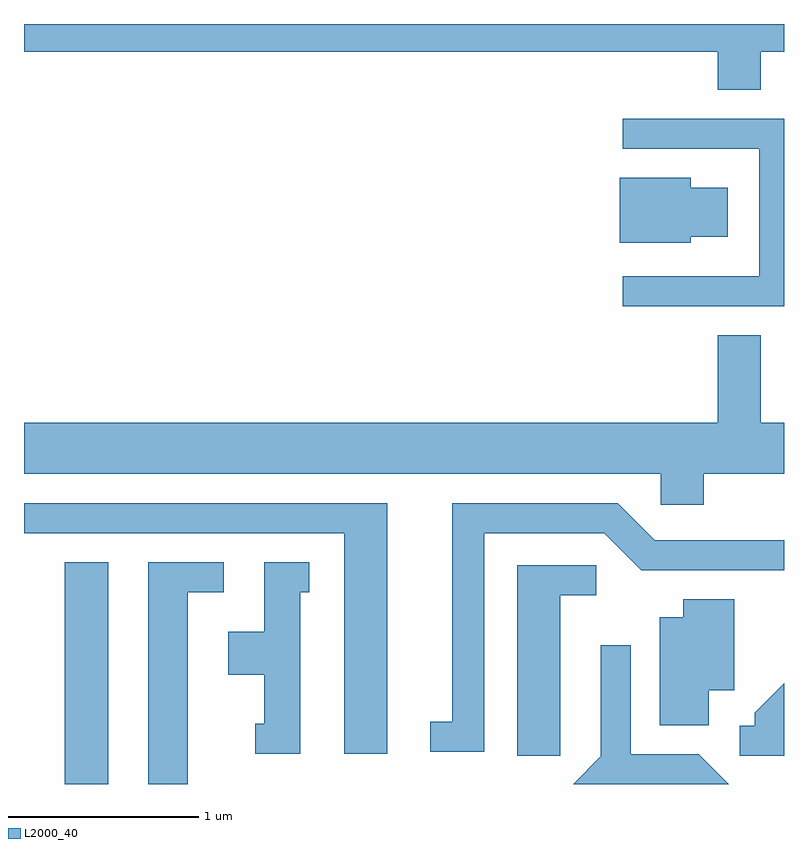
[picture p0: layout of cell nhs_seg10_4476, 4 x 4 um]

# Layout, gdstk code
import gdstk
lib = gdstk.Library(unit=1e-6, precision=1e-09)
def R(c, l, rs):  # rectangles x0, y0, x1, y1
    for r in rs: c.add(gdstk.rectangle(r[:2], r[2:], *l))
def P(c, l, *ps):  # polygons
    for p in ps: c.add(gdstk.Polygon(p, *l))
L2000_40 = (2000, 40)

nhs_seg10_4476 = lib.new_cell('nhs_seg10_4476')
R(nhs_seg10_4476, L2000_40, [(317.826,2094.522,318.054,2095.689)])
P(nhs_seg10_4476, L2000_40, [(321.489,2098.376),(321.611,2098.376),(321.611,2098.522),(317.611,2098.522),(317.611,2098.376),(321.261,2098.376),(321.261,2098.176),(321.489,2098.176)],
  [(321.611,2098.024),(320.763,2098.024),(320.763,2097.866),(321.481,2097.866),(321.481,2097.194),(320.763,2097.194),(320.763,2097.036),(321.611,2097.036)],
  [(321.119,2097.401),(321.314,2097.401),(321.314,2097.659),(321.119,2097.659),(321.119,2097.714),(320.746,2097.714),(320.746,2097.371),(321.119,2097.371)],
  [(321.189,2096.156),(321.611,2096.156),(321.611,2096.424),(321.489,2096.424),(321.489,2096.884),(321.261,2096.884),(321.261,2096.424),(317.611,2096.424),(317.611,2096.156),(320.961,2096.156),(320.961,2095.991),(321.189,2095.991)],
  [(320.034,2095.841),(320.664,2095.841),(320.859,2095.646),(321.611,2095.646),(321.611,2095.804),(320.932,2095.804),(320.737,2095.999),(319.866,2095.999),(319.866,2094.849),(319.748,2094.849),(319.748,2094.691),(320.034,2094.691)],
  [(319.524,2095.999),(317.611,2095.999),(317.611,2095.841),(319.296,2095.841),(319.296,2094.681),(319.524,2094.681)],
  [(318.474,2095.531),(318.663,2095.531),(318.663,2095.689),(318.266,2095.689),(318.266,2094.522),(318.474,2094.522)],
  [(319.064,2095.531),(319.113,2095.531),(319.113,2095.689),(318.876,2095.689),(318.876,2095.324),(318.686,2095.324),(318.686,2095.096),(318.876,2095.096),(318.876,2094.839),(318.828,2094.839),(318.828,2094.681),(319.064,2094.681)],
  [(320.434,2095.516),(320.623,2095.516),(320.623,2095.674),(320.206,2095.674),(320.206,2094.671),(320.434,2094.671)],
  [(321.214,2095.016),(321.349,2095.016),(321.349,2095.494),(321.081,2095.494),(321.081,2095.399),(320.956,2095.399),(320.956,2094.831),(321.214,2094.831)],
  [(321.162,2094.679),(320.804,2094.679),(320.804,2095.253),(320.646,2095.253),(320.646,2094.667),(320.502,2094.522),(321.319,2094.522)],
  [(321.611,2095.052),(321.456,2094.896),(321.456,2094.829),(321.378,2094.829),(321.378,2094.671),(321.611,2094.671)])

lib.write_gds('nhs_seg10_4476.gds')
